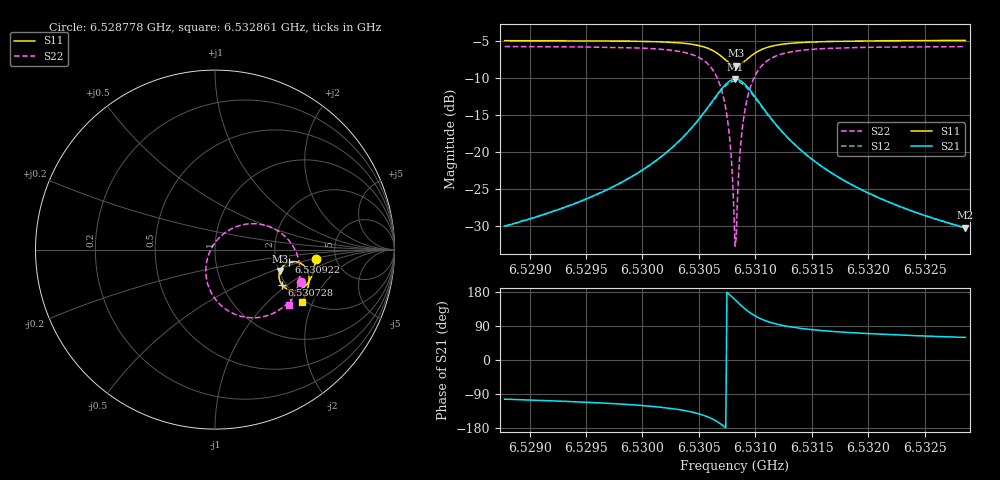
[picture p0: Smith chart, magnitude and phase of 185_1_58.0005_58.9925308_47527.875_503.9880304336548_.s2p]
#  HZ  S  RI  R  50.00
! Rohde & Schwarz Vector Network Analyzer
! Rohde-Schwarz,ZNB20-2Port,1311601062101988,3.16
! Created: UTC 3/21/2024, 12:58:35 AM
! freq[Hz]  re:S11  im:S11  re:S21  im:S21  re:S12  im:S12  re:S22  im:S22
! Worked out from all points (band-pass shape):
!   401 points, 6.528778 GHz to 6.532861 GHz, reference 50 ohm
!   highest |S21| = -10.20 dB at 6.53082 GHz (marker M1); lowest = -30.3 dB at 6.532861 GHz (marker M2)
!   |S21| within 3 dB of the highest: 6.530618 GHz to 6.531027 GHz (409 kHz wide, 0.00626 % of centre)
!   lowest |S11| = -8.4 dB at 6.53083 GHz (marker M3), VSWR 2.23, Z = 101 - j28.2 ohm
!   |S11| at or under -10 dB: nowhere
!   |S22| runs from -32.8 to -5.8 dB; largest |S21 - S12| = 0.012
!   S11 on the Smith chart (normalised r, x): 6.528778 GHz: 3.49, -0.52; 6.530728 GHz: 1.91, -0.91; 6.530922 GHz: 2.36, -0.40; 6.532861 GHz: 1.93, -1.66
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6.5287782e9  0.5604 -0.0505  -0.0073 -0.0306  -0.0079 -0.0303  0.4813 -0.1784
6.5294621e9  0.5511 -0.1079  -0.0168 -0.0433  -0.0177 -0.0431  0.4494 -0.2416
6.530146e9  0.5242 -0.1768  -0.0504 -0.0747  -0.0526 -0.0731  0.3666 -0.3303
6.5303808e9  0.4977 -0.2072  -0.0902 -0.0942  -0.093 -0.091  0.2855 -0.3695
6.5305543e9  0.4543 -0.2272  -0.1582 -0.1011  -0.1607 -0.0945  0.1597 -0.3749
6.5306564e9  0.4093 -0.223  -0.228 -0.0756  -0.2272 -0.0657  0.0426 -0.3189
6.5307278e9  0.3737 -0.1966  -0.28 -0.0176  -0.2743 -0.00738  -0.0341 -0.2116
6.5307687e9  0.3598 -0.169  -0.2968 0.035  -0.2878 0.0433  -0.0515 -0.1211
6.5307891e9  0.357 -0.1526  -0.298 0.065  -0.2878 0.0718  -0.0473 -0.0715
6.5308095e9  0.3576 -0.1353  -0.2931 0.0958  -0.2822 0.1007  -0.0335 -0.0222
6.5308197e9  0.3593 -0.1268  -0.2886 0.1108  -0.2773 0.1147  -0.0229 0.00136
6.5308299e9  0.362 -0.1187  -0.2823 0.1252  -0.2711 0.1281  -0.01 0.0239
6.5308401e9  0.3654 -0.1107  -0.2749 0.139  -0.2637 0.141  0.00493 0.0448
6.5308707e9  0.3803 -0.0902  -0.2454 0.1742  -0.2353 0.1736  0.0596 0.0968
6.5308911e9  0.3928 -0.0799  -0.2219 0.1916  -0.213 0.1897  0.1015 0.1208
6.5309218e9  0.4132 -0.0702  -0.185 0.2081  -0.1777 0.2049  0.1657 0.1408
6.5309932e9  0.4569 -0.0687  -0.1085 0.2113  -0.1047 0.2083  0.2941 0.1309
6.5310953e9  0.4957 -0.0901  -0.042 0.1806  -0.0402 0.179  0.4009 0.0629
6.5312484e9  0.5184 -0.1262  -0.00184 0.1339  -0.000596 0.133  0.4594 -0.0335
6.5315036e9  0.5245 -0.1699  0.0153 0.0874  0.0164 0.0871  0.4737 -0.132
6.5321875e9  0.5074 -0.2413  0.0177 0.0419  0.0185 0.0416  0.4447 -0.2483
6.5328612e9  0.4827 -0.2927  0.0155 0.0264  0.016 0.0261  0.4096 -0.3084
